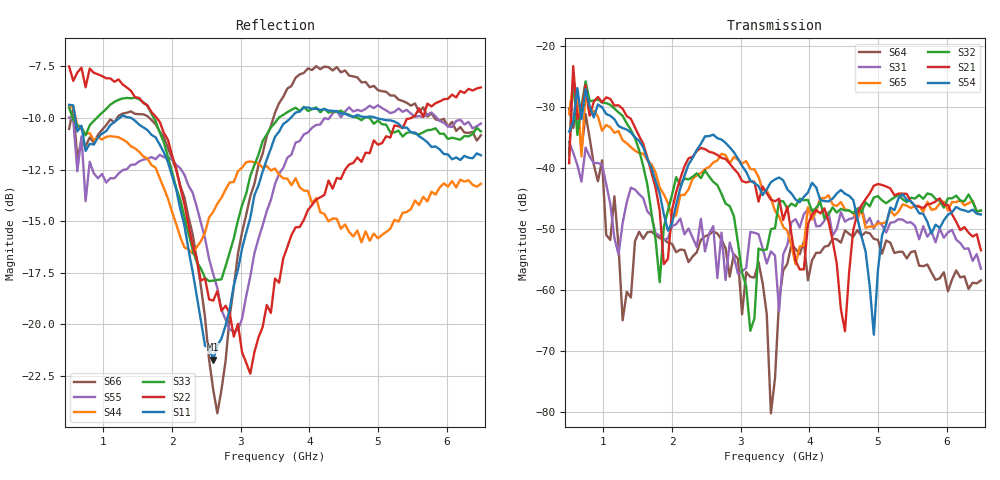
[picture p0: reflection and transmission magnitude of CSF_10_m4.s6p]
!Keysight Technologies,M9804A,MY58100912,A.14.10.03
!Date: Thursday, April 27, 2023 10:28:33
!Correction: S11(C  6-Port  )
!S12(C  6-Port  )
!S13(C  6-Port  )
!S14(C  6-Port  )
!S15(C  6-Port  )
!S16(C  6-Port  )
!S21(C  6-Port  )
!S22(C  6-Port  )
!S23(C  6-Port  )
!S24(C  6-Port  )
!S25(C  6-Port  )
!S26(C  6-Port  )
!S31(C  6-Port  )
!S32(C  6-Port  )
!S33(C  6-Port  )
!S34(C  6-Port  )
!S35(C  6-Port  )
!S36(C  6-Port  )
!S41(C  6-Port  )
!S42(C  6-Port  )
!S43(C  6-Port  )
!S44(C  6-Port  )
!S45(C  6-Port  )
!S46(C  6-Port  )
!S51(C  6-Port  )
!S52(C  6-Port  )
!S53(C  6-Port  )
!S54(C  6-Port  )
!S55(C  6-Port  )
!S56(C  6-Port  )
!S61(C  6-Port  )
!S62(C  6-Port  )
!S63(C  6-Port  )
!S64(C  6-Port  )
!S65(C  6-Port  )
!S66(C  6-Port  )
!S6P File: Measurement: :
# Hz S  RI  R 50
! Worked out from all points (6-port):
!   101 points, 500 MHz to 6.5 GHz, reference 50 ohm
!   strongest paths, dB at 500 MHz, 2 GHz, 3.5 GHz, 5 GHz, 6.5 GHz:
!     S54: -34.0, -49.0, -41.9, -56.7, -47.6
!     S21: -39.2, -46.9, -45.4, -42.6, -53.5
!     S32: -37.8, -44.4, -49.8, -44.6, -47.0
!     S65: -31.1, -48.2, -47.0, -49.1, -47.0
!     S31: -35.7, -49.5, -54.3, -48.7, -56.5
!     S64: -30.3, -52.4, -74.5, -51.8, -58.4
!   lowest |S11| = -21.7 dB at 2.6 GHz (marker M1), VSWR 1.18, Z = 42.7 + j2.11 ohm
!   |S11| at or under -10 dB: 588.8 MHz to 1.236 GHz (647.6 MHz wide, 71 % of centre); 1.403 GHz to 3.73 GHz (2.326 GHz wide, 90.6 % of centre); 4.971 GHz to end of sweep
